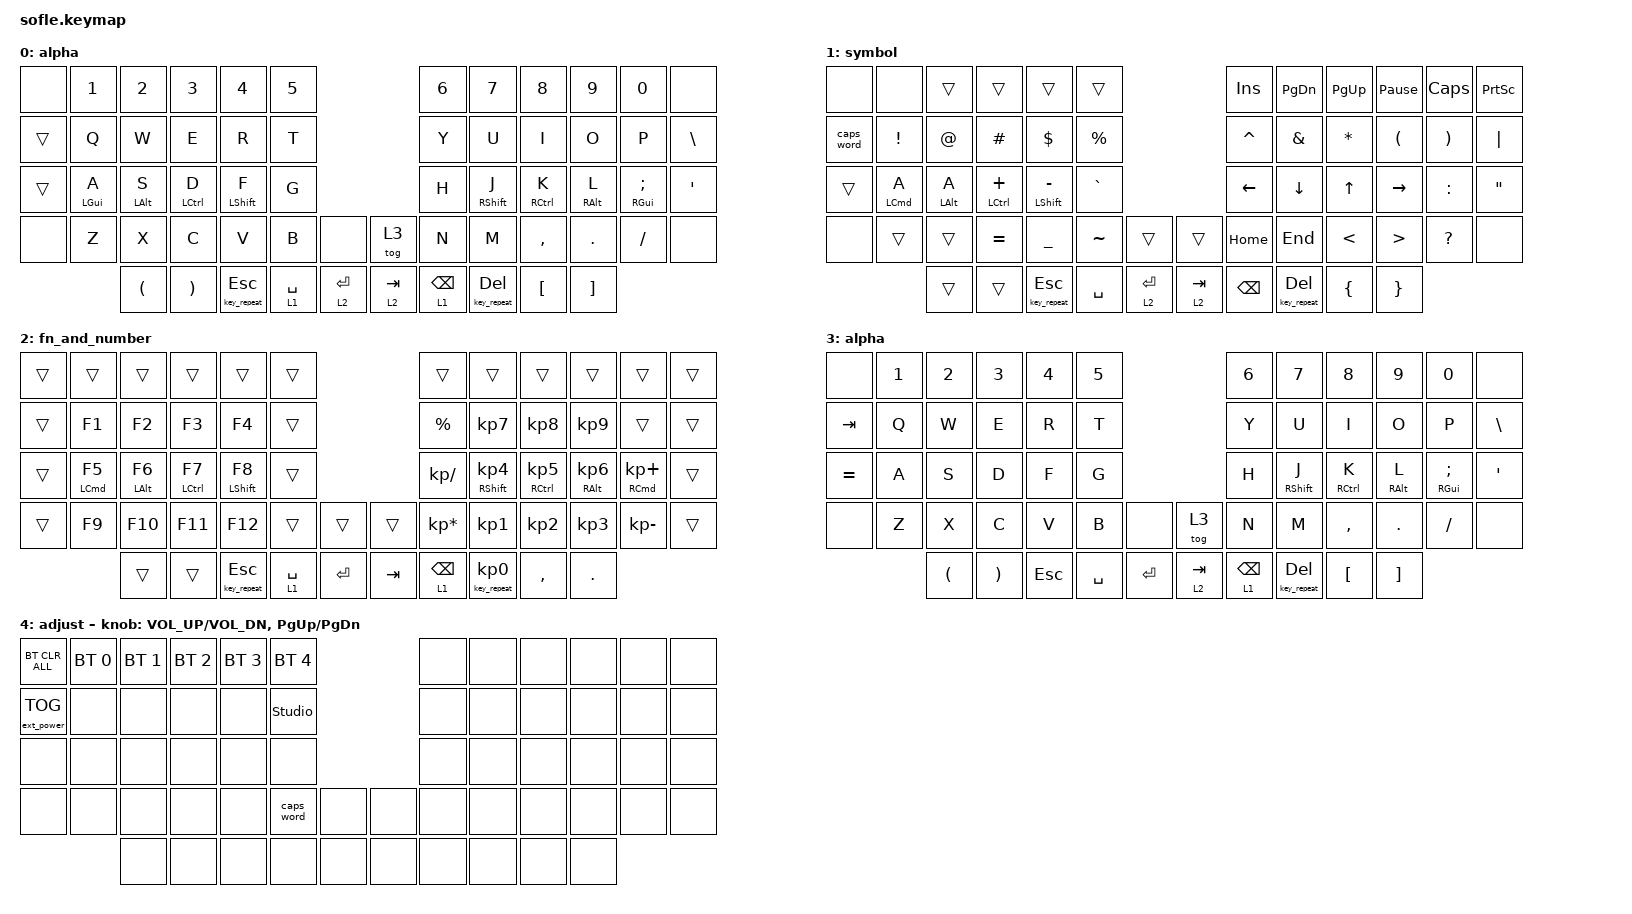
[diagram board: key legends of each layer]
/*
 * Copyright (c) 2020 The ZMK Contributors
 *
 * SPDX-License-Identifier: MIT
 */

#include <behaviors.dtsi>
#include <dt-bindings/zmk/bt.h>
#include <dt-bindings/zmk/ext_power.h>
#include <dt-bindings/zmk/keys.h>

#define BASE 0
#define LOWER 1
#define RAISE 2
#define ADJUST 3
#define extra_layer 4

/ {
    // Activate ADJUST layer by pressing raise and lower

    conditional_layers {
        compatible = "zmk,conditional-layers";

        adjust_layer {
            if-layers = <1 4>;
            then-layer = <4>;
        };
    };

    combos {
        compatible = "zmk,combos";

        backspace {
            bindings = <&kp BACKSPACE>;
            key-positions = <32 31>;
        };

        delete {
            bindings = <&kp DELETE>;
            key-positions = <27 33>;
        };

        esc {
            bindings = <&kp ESCAPE>;
            key-positions = <25 41>;
        };
    };

    behaviors {
        caps: caps {
            compatible = "zmk,behavior-caps-word";
            label = "CAPS";
            #binding-cells = <0>;
            continue-list = <POUND MINUS BACKSPACE UNDERSCORE>;
        };

        hml: hml {
            compatible = "zmk,behavior-hold-tap";
            label = "HML";
            bindings = <&kp>, <&kp>;

            #binding-cells = <2>;
            tapping-term-ms = <280>;
            require-prior-idle-ms = <150>;
            flavor = "balanced";
            quick-tap-ms = <175>;
            hold-trigger-key-positions = <6 7 8 9 10 11 18 19 20 21 22 23 30 31 32 33 34 35 44 45 46 47 48 49 56 57 58 59 43 55>;
            hold-trigger-on-release;
        };

        hmr: hmr {
            compatible = "zmk,behavior-hold-tap";
            label = "HMR";
            bindings = <&kp>, <&kp>;

            #binding-cells = <2>;
            flavor = "balanced";
            hold-trigger-key-positions = <0 1 2 4 5 13 14 15 16 17 25 26 27 28 29 37 38 39 40 41 42 50 51 52 53 54 3 12 36 24 0 1 2 3 4 5 12 13 14 15 16 17 24 25 26 27 28 29 36 37 38 39 40 41 50 51 52 53>;
            tapping-term-ms = <280>;
            quick-tap-ms = <175>;
            require-prior-idle-ms = <150>;
            hold-trigger-on-release;
        };

        mol: mol {
            compatible = "zmk,behavior-hold-tap";
            label = "&mo &tap left";
            #binding-cells = <2>;
            tapping-term-ms = <280>;
            require-prior-idle-ms = <150>;
            flavor = "balanced";
            quick-tap-ms = <175>;
            hold-trigger-key-positions = <6 7 8 9 10 11 18 19 20 21 22 23 30 31 32 33 34 35 44 45 46 47 48 49 56 57 58 59 43 55>;
            hold-trigger-on-release;
            bindings = <&mo>, <&kp>;
        };

        mor: mor {
            compatible = "zmk,behavior-hold-tap";
            label = "&mo &tap right";
            #binding-cells = <2>;
            flavor = "balanced";
            hold-trigger-key-positions = <0 1 2 4 5 13 14 15 16 17 25 26 27 28 29 37 38 39 40 41 42 50 51 52 53 54 3 12 36 24 0 1 2 3 4 5 12 13 14 15 16 17 24 25 26 27 28 29 36 37 38 39 40 41 50 51 52 53>;
            tapping-term-ms = <280>;
            quick-tap-ms = <175>;
            require-prior-idle-ms = <150>;
            hold-trigger-on-release;
            bindings = <&mo>, <&kp>;
        };

        krl: krl {
            compatible = "zmk,behavior-hold-tap";
            label = "&key_repeat &kp left";
            #binding-cells = <2>;
            tapping-term-ms = <280>;
            require-prior-idle-ms = <150>;
            flavor = "balanced";
            quick-tap-ms = <175>;
            hold-trigger-key-positions = <6 7 8 9 10 11 18 19 20 21 22 23 30 31 32 33 34 35 44 45 46 47 48 49 56 57 58 59 43 55>;
            hold-trigger-on-release;
            bindings = <&key_repeat>, <&kp>;
        };

        krr: krr {
            compatible = "zmk,behavior-hold-tap";
            label = "&key_repeat &kp right";
            #binding-cells = <2>;
            flavor = "balanced";
            hold-trigger-key-positions = <0 1 2 4 5 13 14 15 16 17 25 26 27 28 29 37 38 39 40 41 42 50 51 52 53 54 3 12 36 24 0 1 2 3 4 5 12 13 14 15 16 17 24 25 26 27 28 29 36 37 38 39 40 41 50 51 52 53>;
            tapping-term-ms = <280>;
            quick-tap-ms = <175>;
            require-prior-idle-ms = <150>;
            hold-trigger-on-release;
            bindings = <&key_repeat>, <&kp>;
        };
    };

    keymap {
        compatible = "zmk,keymap";

        Alpha {
            display-name = "alpha";

            // ------------------------------------------------------------------------------------------------------------
            // |   `   |  1  |  2  |  3   |  4   |  5   |                   |  6   |  7    |  8    |  9   |   0   |       |
            // |  ESC  |  Q  |  W  |  E   |  R   |  T   |                   |  Y   |  U    |  I    |  O   |   P   | BKSPC |
            // |  TAB  |  A  |  S  |  D   |  F   |  G   |                   |  H   |  J    |  K    |  L   |   ;   |   '   |
            // | SHIFT |  Z  |  X  |  C   |  V   |  B   |  MUTE  |  |       |  N   |  M    |  ,    |  .   |   /   | SHIFT |
            //               | GUI | ALT  | CTRL | LOWER|  ENTER |  | SPACE | RAISE| CTRL  | ALT   | GUI  |

            bindings = <
&none   &kp N1           &kp N2                &kp N3                 &kp N4             &kp N5                                    &kp N6            &kp N7              &kp N8                &kp N9             &kp N0               &none
&trans  &kp Q            &kp W                 &kp E                  &kp R              &kp T                                     &kp Y             &kp U               &kp I                 &kp O              &kp P                &kp BACKSLASH
&trans  &hml LEFT_GUI A  &hml LEFT_ALT S       &hml LEFT_CONTROL D    &hml LEFT_SHIFT F  &kp G                                     &kp H             &hmr RIGHT_SHIFT J  &hmr RIGHT_CONTROL K  &hmr RIGHT_ALT L   &hmr RIGHT_GUI SEMI  &kp SQT
&none   &kp Z            &kp X                 &kp C                  &kp V              &kp B         &none           &tog 3      &kp N             &kp M               &kp COMMA             &kp DOT            &kp FSLH             &none
                         &kp LEFT_PARENTHESIS  &kp RIGHT_PARENTHESIS  &krl 0 ESC         &mol 1 SPACE  &mol 2 ENTER    &mor 2 TAB  &mor 1 BACKSPACE  &krr 0 DELETE       &kp LEFT_BRACKET      &kp RIGHT_BRACKET
            >;
        };

        Symbol {
            display-name = "symbol";

            // TODO: Some binds are waiting for shifted keycode support.
            // ------------------------------------------------------------------------------------------------------------
            // |       |  F1 |  F2 |  F3  |  F4  |  F5  |                   |  F6  |  F7   |  F8   |  F9  |  F10  |  F11  |
            // |   `   |  1  |  2  |  3   |  4   |  5   |                   |  6   |  7    |  8    |  9   |   0   |  F12  |
            // |       |  !  |  @  |  #   |  $   |  %   |                   |  ^   |  &    |  *    |  (   |   )   |   |   |
            // |       |  =  |  -  |  +   |  {   |  }   |        |  |       |  [   |  ]    |  ;    |  :   |   \   |       |
            //               |     |      |      |      |        |  |       |      |       |       |      |

            bindings = <
&none       &none            &trans       &trans           &trans             &trans                                   &kp INS        &kp PAGE_DOWN  &kp PG_UP       &kp PAUSE_BREAK       &kp CAPSLOCK           &kp PSCRN
&caps_word  &kp EXCLAMATION  &kp AT       &kp HASH         &kp DOLLAR         &kp PERCENT                              &kp CARET      &kp AMPERSAND  &kp ASTERISK    &kp LEFT_PARENTHESIS  &kp RIGHT_PARENTHESIS  &kp PIPE
&trans      &hml LCMD A      &hml LALT A  &hml LCTRL PLUS  &hml LSHIFT MINUS  &kp GRAVE                                &kp LEFT       &kp DOWN       &kp UP_ARROW    &kp RIGHT             &kp COLON              &kp DOUBLE_QUOTES
&none       &trans           &trans       &kp EQUAL        &kp UNDERSCORE     &kp TILDE    &trans          &trans      &kp HOME       &kp END        &kp LESS_THAN   &kp GREATER_THAN      &kp QUESTION           &none
                             &trans       &trans           &krl 0 ESC         &kp SPACE    &mol 2 ENTER    &mor 2 TAB  &kp BACKSPACE  &krr 0 DELETE  &kp LEFT_BRACE  &kp RIGHT_BRACE
            >;
        };

        Fn-and-Number {
            bindings = <
&trans  &trans        &trans        &trans         &trans          &trans                              &trans            &trans                   &trans                  &trans                 &trans             &trans
&trans  &kp F1        &kp F2        &kp F3         &kp F4          &trans                              &kp PERCENT       &kp KP_NUMBER_7          &kp KP_NUMBER_8         &kp KP_NUMBER_9        &trans             &trans
&trans  &hml LCMD F5  &hml LALT F6  &hml LCTRL F7  &hml LSHIFT F8  &trans                              &kp KP_DIVIDE     &hmr RSHIFT KP_NUMBER_4  &hmr RCTRL KP_NUMBER_5  &hmr RALT KP_NUMBER_6  &hmr RCMD KP_PLUS  &trans
&trans  &kp F9        &kp F10       &kp F11        &kp F12         &trans        &trans       &trans   &kp KP_MULTIPLY   &kp KP_NUMBER_1          &kp KP_NUMBER_2         &kp KP_NUMBER_3        &kp KP_SUBTRACT    &trans
                      &trans        &trans         &krl 0 ESC      &mol 1 SPACE  &kp ENTER    &kp TAB  &mor 1 BACKSPACE  &krr 0 KP_N0             &kp COMMA               &kp PERIOD
            >;

            label = "fn_and_number";
        };

        Gaming {
            display-name = "alpha";
            bindings = <
&none      &kp N1  &kp N2                &kp N3                 &kp N4   &kp N5                              &kp N6            &kp N7              &kp N8                &kp N9             &kp N0               &none
&kp TAB    &kp Q   &kp W                 &kp E                  &kp R    &kp T                               &kp Y             &kp U               &kp I                 &kp O              &kp P                &kp BACKSLASH
&kp EQUAL  &kp A   &kp S                 &kp D                  &kp F    &kp G                               &kp H             &hmr RIGHT_SHIFT J  &hmr RIGHT_CONTROL K  &hmr RIGHT_ALT L   &hmr RIGHT_GUI SEMI  &kp SQT
&none      &kp Z   &kp X                 &kp C                  &kp V    &kp B      &none        &tog 3      &kp N             &kp M               &kp COMMA             &kp DOT            &kp FSLH             &none
                   &kp LEFT_PARENTHESIS  &kp RIGHT_PARENTHESIS  &kp ESC  &kp SPACE  &kp ENTER    &mor 2 TAB  &mor 1 BACKSPACE  &krr 0 DELETE       &kp LEFT_BRACKET      &kp RIGHT_BRACKET
            >;

            label = "gaming";
        };

        adjust_layer {
            // ----------------------------------------------------------------------------------------------------------------------------
            // | BTCLR  |  BT1    |  BT2    |   BT3   |   BT4   |   BT5   |                  |      |      |       |      |       |       |
            // | EXTPWR | RGB_HUD | RGB_HUI | RGB_SAD | RGB_SAI | RGB_EFF |                  |      |      |       |      |       |       |
            // |        | RGB_BRD | RGB_BRI |         |         |         |                  |      |      |       |      |       |       |
            // |        |         |         |         |         |         | RGB_TOG | |      |      |      |       |      |       |       |
            //                    |         |         |         |         |         | |      |      |      |       |      |

            display-name = "adjust";
            bindings = <
&bt BT_CLR_ALL     &bt BT_SEL 0  &bt BT_SEL 1  &bt BT_SEL 2  &bt BT_SEL 3  &bt BT_SEL 4                    &none  &none  &none  &none  &none  &none
&ext_power EP_TOG  &none         &none         &none         &none         &studio_unlock                  &none  &none  &none  &none  &none  &none
&none              &none         &none         &none         &none         &none                           &none  &none  &none  &none  &none  &none
&none              &none         &none         &none         &none         &caps_word      &none    &none  &none  &none  &none  &none  &none  &none
                                 &none         &none         &none         &none           &none    &none  &none  &none  &none  &none
            >;

            sensor-bindings = <&inc_dec_kp C_VOL_UP C_VOL_DN &inc_dec_kp PG_UP PG_DN>;
        };
    };
};
